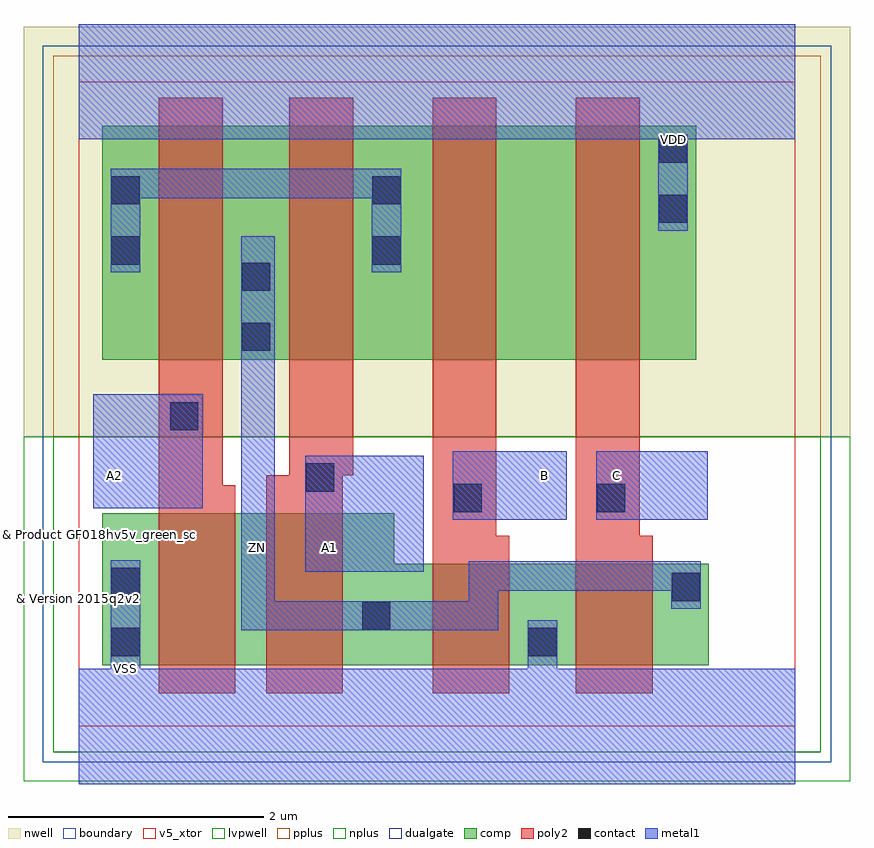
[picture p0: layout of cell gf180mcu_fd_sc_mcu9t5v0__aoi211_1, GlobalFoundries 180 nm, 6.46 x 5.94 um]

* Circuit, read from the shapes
.subckt gf180mcu_fd_sc_mcu9t5v0__aoi211_1 A1 A2 B C VDD VSS ZN
XM1 n1 A2 VSS VSUBS nfet_05v0 w=1.185u l=0.6u
XM2 ZN A1 n1 VSUBS nfet_05v0 w=1.185u l=0.6u
XM3 VSS B ZN VSUBS nfet_05v0 w=0.79u l=0.6u
XM4 ZN C VSS VSUBS nfet_05v0 w=0.79u l=0.6u
XM5 ZN A2 n2 n3 pfet_05v0 w=1.83u l=0.5u
XM6 n2 A1 ZN n3 pfet_05v0 w=1.83u l=0.5u
XM7 n4 B n2 n3 pfet_05v0 w=1.83u l=0.5u
XM8 VDD C n4 n3 pfet_05v0 w=1.83u l=0.5u
.ends

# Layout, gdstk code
import gdstk
lib = gdstk.Library(unit=1e-6, precision=1e-09)
def R(c, l, rs):  # rectangles x0, y0, x1, y1
    for r in rs: c.add(gdstk.rectangle(r[:2], r[2:], *l))
def P(c, l, *ps):  # polygons
    for p in ps: c.add(gdstk.Polygon(p, *l))
boundary = (0, 0)
nwell = (21, 0)
comp = (22, 0)
poly2 = (30, 0)
pplus = (31, 0)
nplus = (32, 0)
contact = (33, 0)
metal1 = (34, 0)
dualgate = (55, 0)
v5_xtor = (112, 1)
lvpwell = (204, 0)

gf180mcu_fd_sc_mcu9t5v0_ = lib.new_cell('gf180mcu_fd_sc_mcu9t5v0__aoi211_1')
R(gf180mcu_fd_sc_mcu9t5v0_, boundary, [(0,0,5.6,5.04)])
R(gf180mcu_fd_sc_mcu9t5v0_, nwell, [(-0.43,2.265,6.03,5.47)])
R(gf180mcu_fd_sc_mcu9t5v0_, comp, [(0.185,2.865,4.825,4.695)])
P(gf180mcu_fd_sc_mcu9t5v0_, comp, [(0.185,0.48),(0.185,1.665),(2.465,1.665),(2.465,1.27),(4.925,1.27),(4.925,0.48)])
P(gf180mcu_fd_sc_mcu9t5v0_, poly2, [(0.625,0.26),(0.625,4.915),(1.125,4.915),(1.125,1.885),(1.225,1.885),(1.225,0.26)],
  [(1.465,0.26),(1.465,1.965),(1.645,1.965),(1.645,4.915),(2.145,4.915),(2.145,1.965),(2.065,1.965),(2.065,0.26)],
  [(2.765,0.26),(2.765,4.915),(3.265,4.915),(3.265,1.49),(3.365,1.49),(3.365,0.26)],
  [(3.885,0.26),(3.885,4.915),(4.385,4.915),(4.385,1.49),(4.485,1.49),(4.485,0.26)])
R(gf180mcu_fd_sc_mcu9t5v0_, pplus, [(-0.2,2.265,5.8,5.24)])
R(gf180mcu_fd_sc_mcu9t5v0_, nplus, [(-0.2,-0.2,5.8,2.265)])
R(gf180mcu_fd_sc_mcu9t5v0_, contact, [(0.255,0.55,0.475,0.77), (3.515,0.55,3.735,0.77), (2.215,0.755,2.435,0.975), (4.635,0.98,4.855,1.2), (0.255,1.02,0.475,1.24), (2.93,1.675,3.15,1.895), (4.05,1.675,4.27,1.895), (1.775,1.835,1.995,2.055), (0.715,2.315,0.935,2.535), (1.275,2.935,1.495,3.155), (1.275,3.405,1.495,3.625), (0.255,3.61,0.475,3.83), (2.295,3.61,2.515,3.83), (4.535,3.935,4.755,4.155), (0.255,4.08,0.475,4.3), (2.295,4.08,2.515,4.3), (4.535,4.405,4.755,4.625)])
R(gf180mcu_fd_sc_mcu9t5v0_, metal1, [(1.77,1.21,2.695,2.115), (2.925,1.615,3.815,2.15), (4.045,1.615,4.915,2.15), (0.115,1.705,0.97,2.595)])
P(gf180mcu_fd_sc_mcu9t5v0_, metal1, [(0.25,3.55),(0.25,4.36),(2.52,4.36),(2.52,3.55),(2.29,3.55),(2.29,4.13),(0.48,4.13),(0.48,3.55)],
  [(1.27,0.75),(1.27,3.83),(1.53,3.83),(1.53,0.98),(3.05,0.98),(3.05,1.29),(4.86,1.29),(4.86,0.92),(4.63,0.92),(4.63,1.06),(3.28,1.06),(3.28,0.75)],
  [(0,-0.45),(0,0.45),(0.25,0.45),(0.25,1.3),(0.48,1.3),(0.48,0.45),(3.51,0.45),(3.51,0.83),(3.74,0.83),(3.74,0.45),(5.6,0.45),(5.6,-0.45)],
  [(4.53,3.875),(4.53,4.59),(0,4.59),(0,5.49),(5.6,5.49),(5.6,4.59),(4.76,4.59),(4.76,3.875)])
R(gf180mcu_fd_sc_mcu9t5v0_, dualgate, [(-0.28,-0.28,5.88,5.32)])
R(gf180mcu_fd_sc_mcu9t5v0_, v5_xtor, [(0,0,5.6,5.04)])
R(gf180mcu_fd_sc_mcu9t5v0_, lvpwell, [(-0.43,-0.43,6.03,2.265)])
gf180mcu_fd_sc_mcu9t5v0_.add(gdstk.Label('A1', (1.96,1.4), layer=34, texttype=10))
gf180mcu_fd_sc_mcu9t5v0_.add(gdstk.Label('A2', (0.28,1.96), layer=34, texttype=10))
gf180mcu_fd_sc_mcu9t5v0_.add(gdstk.Label('B', (3.64,1.96), layer=34, texttype=10))
gf180mcu_fd_sc_mcu9t5v0_.add(gdstk.Label('C', (4.2,1.96), layer=34, texttype=10))
gf180mcu_fd_sc_mcu9t5v0_.add(gdstk.Label('VDD', (4.645,4.59), layer=34, texttype=10))
gf180mcu_fd_sc_mcu9t5v0_.add(gdstk.Label('VSS', (0.365,0.45), layer=34, texttype=10))
gf180mcu_fd_sc_mcu9t5v0_.add(gdstk.Label('ZN', (1.4,1.4), layer=34, texttype=10))
gf180mcu_fd_sc_mcu9t5v0_.add(gdstk.Label('& Vendor GLOBALFOUNDRIES', (0,2), layer=63, texttype=63))
gf180mcu_fd_sc_mcu9t5v0_.add(gdstk.Label('& Product GF018hv5v_green_sc9', (0,1.5), layer=63, texttype=63))
gf180mcu_fd_sc_mcu9t5v0_.add(gdstk.Label('& Version 2015q2v2', (0,1), layer=63, texttype=63))
gf180mcu_fd_sc_mcu9t5v0_.add(gdstk.Label('& Metric 1.00', (0,0.5), layer=63, texttype=63))

lib.write_gds('gf180mcu_fd_sc_mcu9t5v0__aoi211_1.gds')
